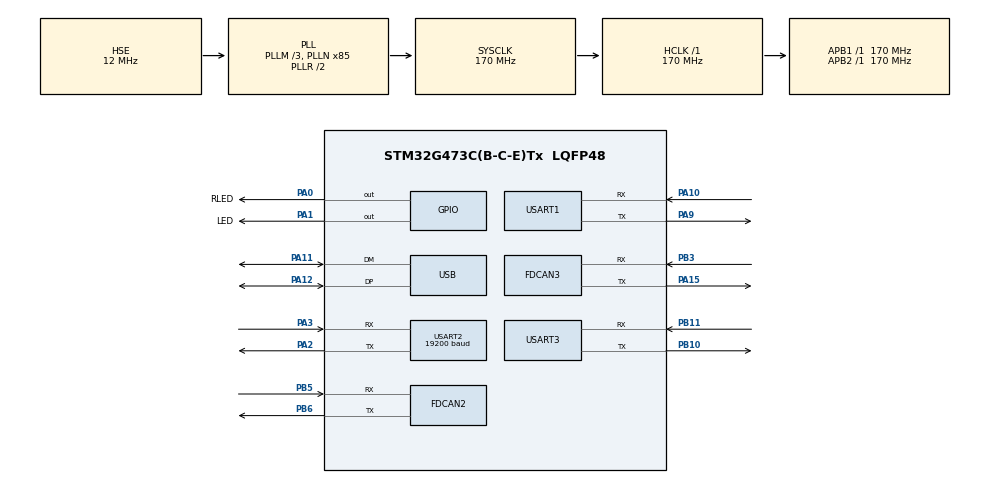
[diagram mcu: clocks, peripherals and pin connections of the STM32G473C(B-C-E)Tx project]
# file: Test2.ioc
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Dma.Request0=USART2_TX
Dma.USART2_TX.0.Direction=DMA_MEMORY_TO_PERIPH
Dma.USART2_TX.0.EventEnable=DISABLE
Dma.USART2_TX.0.Instance=DMA1_Channel1
Dma.USART2_TX.0.MemDataAlignment=DMA_MDATAALIGN_BYTE
Dma.USART2_TX.0.MemInc=DMA_MINC_ENABLE
Dma.USART2_TX.0.Mode=DMA_NORMAL
Dma.USART2_TX.0.PeriphDataAlignment=DMA_PDATAALIGN_BYTE
Dma.USART2_TX.0.PeriphInc=DMA_PINC_DISABLE
Dma.USART2_TX.0.Polarity=HAL_DMAMUX_REQ_GEN_RISING
Dma.USART2_TX.0.Priority=DMA_PRIORITY_VERY_HIGH
Dma.USART2_TX.0.RequestNumber=1
Dma.USART2_TX.0.SignalID=NONE
Dma.USART2_TX.0.SyncEnable=DISABLE
Dma.USART2_TX.0.SyncPolarity=HAL_DMAMUX_SYNC_NO_EVENT
Dma.USART2_TX.0.SyncRequestNumber=1
Dma.USART2_TX.0.SyncSignalID=NONE
FDCAN2.CalculateBaudRateNominal=500000
FDCAN2.CalculateTimeBitNominal=2000
FDCAN2.CalculateTimeQuantumNominal=250.0
FDCAN2.NominalPrescaler=3
FDCAN2.NominalTimeSeg1=6
FDCAN2.NominalTimeSeg2=1
FDCAN3.CalculateBaudRateNominal=500000
FDCAN3.CalculateTimeBitNominal=2000
FDCAN3.CalculateTimeQuantumNominal=250.0
FDCAN3.NominalPrescaler=3
FDCAN3.NominalTimeSeg1=6
FDCAN3.NominalTimeSeg2=1
FREERTOS.Tasks01=defaultTask,24,128,StartDefaultTask,Default,NULL,Dynamic,NULL,NULL
FREERTOS.configCHECK_FOR_STACK_OVERFLOW=2
FREERTOS.configTOTAL_HEAP_SIZE=16384
FREERTOS.configUSE_MALLOC_FAILED_HOOK=1
Mcu.Family=STM32G4
Mcu.Name=STM32G473C(B-C-E)Tx
Mcu.Package=LQFP48
NVIC.DMA1_Channel1_IRQn=true\:5\:0\:false\:false\:true\:true\:false\:true\:true
NVIC.FDCAN2_IT0_IRQn=true\:5\:0\:false\:false\:true\:true\:true\:true\:true
NVIC.FDCAN3_IT0_IRQn=true\:5\:0\:false\:false\:true\:true\:true\:true\:true
NVIC.PriorityGroup=NVIC_PRIORITYGROUP_4
NVIC.TIM1_UP_TIM16_IRQn=true\:15\:0\:false\:false\:true\:false\:false\:true\:true
NVIC.TimeBase=TIM1_UP_TIM16_IRQn
NVIC.TimeBaseIP=TIM1
NVIC.USART1_IRQn=true\:5\:0\:false\:false\:true\:true\:true\:true\:true
NVIC.USART2_IRQn=true\:5\:0\:false\:false\:true\:true\:true\:true\:true
NVIC.USB_LP_IRQn=true\:5\:0\:false\:false\:true\:true\:false\:true\:true
PA0.GPIO_Label=RLED
PA0.Signal=GPIO_Output
PA1.GPIO_Label=LED
PA1.Signal=GPIO_Output
PA10.Mode=Asynchronous
PA10.Signal=USART1_RX
PA11.Mode=Device
PA11.Signal=USB_DM
PA12.Mode=Device
PA12.Signal=USB_DP
PA13.Mode=Serial_Wire
PA13.Signal=SYS_JTMS-SWDIO
PA14.Mode=Serial_Wire
PA14.Signal=SYS_JTCK-SWCLK
PA15.GPIO_Speed=GPIO_SPEED_FREQ_HIGH
PA15.Mode=FDCAN_Activate
PA15.Signal=FDCAN3_TX
PA2.GPIO_Speed=GPIO_SPEED_FREQ_HIGH
PA2.Mode=Asynchronous
PA2.Signal=USART2_TX
PA3.GPIO_Speed=GPIO_SPEED_FREQ_HIGH
PA3.Mode=Asynchronous
PA3.Signal=USART2_RX
PA9.Mode=Asynchronous
PA9.Signal=USART1_TX
PB10.Mode=Asynchronous
PB10.Signal=USART3_TX
PB11.Mode=Asynchronous
PB11.Signal=USART3_RX
PB3.GPIO_PuPd=GPIO_PULLUP
PB3.GPIO_Speed=GPIO_SPEED_FREQ_HIGH
PB3.Mode=FDCAN_Activate
PB3.Signal=FDCAN3_RX
PB5.GPIO_PuPd=GPIO_PULLUP
PB5.GPIO_Speed=GPIO_SPEED_FREQ_HIGH
PB5.Mode=FDCAN_Activate
PB5.Signal=FDCAN2_RX
PB6.GPIO_Speed=GPIO_SPEED_FREQ_HIGH
PB6.Mode=FDCAN_Activate
PB6.Signal=FDCAN2_TX
PF0-OSC_IN.Mode=HSE-External-Clock-Source
PF0-OSC_IN.Signal=RCC_OSC_IN
ProjectManager.HeapSize=0x200
ProjectManager.StackSize=0x400
ProjectManager.TargetToolchain=CMake
RCC.ADC12Freq_Value=170000000
RCC.ADC345Freq_Value=170000000
RCC.AHBFreq_Value=170000000
RCC.APB1Freq_Value=170000000
RCC.APB1TimFreq_Value=170000000
RCC.APB2Freq_Value=170000000
RCC.APB2TimFreq_Value=170000000
RCC.CK48CLockSelection=RCC_USBCLKSOURCE_HSI48
RCC.CortexFreq_Value=170000000
RCC.EXTERNAL_CLOCK_VALUE=12288000
RCC.FDCANCLockSelection=RCC_FDCANCLKSOURCE_HSE
RCC.HCLKFreq_Value=170000000
RCC.HSE_VALUE=12000000
RCC.HSI48_VALUE=48000000
RCC.HSI_VALUE=16000000
RCC.LSE_VALUE=32768
RCC.PLLM=RCC_PLLM_DIV3
RCC.PLLN=85
RCC.PLLQ=RCC_PLLQ_DIV8
RCC.PLLSourceVirtual=RCC_PLLSOURCE_HSE
RCC.SYSCLKFreq_VALUE=170000000
RCC.SYSCLKSource=RCC_SYSCLKSOURCE_PLLCLK
RCC.USBFreq_Value=48000000
RCC.VCOOutputFreq_Value=340000000
USART1.VirtualMode-Asynchronous=VM_ASYNC
USART2.BaudRate=19200
USART2.Mode=MODE_TX_RX
USART2.Parity=PARITY_NONE
USART2.VirtualMode-Asynchronous=VM_ASYNC
USART3.VirtualMode-Asynchronous=VM_ASYNC
USB_DEVICE.CLASS_NAME_FS=CDC
USB_DEVICE.CONFIGURATION_STRING_CDC_FS=CDC Config
USB_DEVICE.INTERFACE_STRING_CDC_FS=CDC Interface
USB_DEVICE.MANUFACTURER_STRING=STMicroelectronics
USB_DEVICE.PID_CDC_FS=69
USB_DEVICE.PRODUCT_STRING_CDC_FS=Marius's telemetry
USB_DEVICE.VirtualMode=Cdc
USB_DEVICE.VirtualModeFS=Cdc_FS
VP_FREERTOS_VS_CMSIS_V2.Mode=CMSIS_V2
VP_RCC_VS_USB.Mode=USB_FS
VP_SYS_VS_DBSignals.Mode=DisableDeadBatterySignals
VP_SYS_VS_tim1.Mode=TIM1
VP_TIM8_VS_ClockSourceITR.Mode=TriggerSource_ITR0
VP_TIM8_VS_ControllerModeClock.Mode=Clock Mode
VP_USB_DEVICE_VS_USB_DEVICE_CDC_FS.Mode=CDC_FS
board=custom

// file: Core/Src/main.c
/* USER CODE BEGIN Header */
/**
  ******************************************************************************
  * @file           : main.c
  * @brief          : Main program body
  ******************************************************************************
  * @attention
  *
  * Copyright (c) 2025 STMicroelectronics.
  * All rights reserved.
  *
  * This software is licensed under terms that can be found in the LICENSE file
  * in the root directory of this software component.
  * If no LICENSE file comes with this software, it is provided AS-IS.
  *
  ******************************************************************************
  */
/* USER CODE END Header */
#include "main.h"
#include "cmsis_os.h"
#include "dma.h"
#include "fdcan.h"
#include "tim.h"
#include "usart.h"
#include "usb_device.h"
#include "gpio.h"

/* USER CODE BEGIN Includes */
#include "CAN-receive.h"
#include "Transmitt.h"
#include "aligncan.h"
#include "usbd_cdc_if.h"
#include "VN-200.h"
#include "FreeRTOS.h"
//#include "SEGGER_RTT.h"
/* USER CODE END Includes */

void SystemClock_Config(void);
void MX_FREERTOS_Init(void);

int main(void)
{

  /* MCU Configuration--------------------------------------------------------*/

  /* Reset of all peripherals, Initializes the Flash interface and the Systick. */
  HAL_Init();

  /* Configure the system clock */
  SystemClock_Config();

  /* Initialize all configured peripherals */
  MX_GPIO_Init();
  MX_DMA_Init();
  MX_FDCAN2_Init();
  MX_FDCAN3_Init();
  MX_TIM8_Init();
  MX_USART1_UART_Init();
  MX_USART2_UART_Init();
  MX_USART3_UART_Init();
  /* USER CODE BEGIN 2 */
  MX_USB_Device_Init();

  /* USER CODE END 2 */

  /* Init scheduler */
  osKernelInitialize();

  /* Call init function for freertos objects (in cmsis_os2.c) */
  MX_FREERTOS_Init();

  /* Start scheduler */
  osKernelStart();

  /* We should never get here as control is now taken by the scheduler */

  /* Infinite loop */
  while (1)
  {

  }
}

void SystemClock_Config(void)
{
  RCC_OscInitTypeDef RCC_OscInitStruct = {0};
  RCC_ClkInitTypeDef RCC_ClkInitStruct = {0};
  RCC_CRSInitTypeDef pInit = {0};

  /** Configure the main internal regulator output voltage
  */
  HAL_PWREx_ControlVoltageScaling(PWR_REGULATOR_VOLTAGE_SCALE1_BOOST);

  /** Initializes the RCC Oscillators according to the specified parameters
  * in the RCC_OscInitTypeDef structure.
  */
  RCC_OscInitStruct.OscillatorType = RCC_OSCILLATORTYPE_HSI48|RCC_OSCILLATORTYPE_HSE;
  RCC_OscInitStruct.HSEState = RCC_HSE_BYPASS;
  RCC_OscInitStruct.HSI48State = RCC_HSI48_ON;
  RCC_OscInitStruct.PLL.PLLState = RCC_PLL_ON;
  RCC_OscInitStruct.PLL.PLLSource = RCC_PLLSOURCE_HSE;
  RCC_OscInitStruct.PLL.PLLM = RCC_PLLM_DIV3;
  RCC_OscInitStruct.PLL.PLLN = 85;
  RCC_OscInitStruct.PLL.PLLP = RCC_PLLP_DIV2;
  RCC_OscInitStruct.PLL.PLLQ = RCC_PLLQ_DIV8;
  RCC_OscInitStruct.PLL.PLLR = RCC_PLLR_DIV2;
  if (HAL_RCC_OscConfig(&RCC_OscInitStruct) != HAL_OK)
  {
    Error_Handler();
  }

  /** Initializes the CPU, AHB and APB buses clocks
  */
  RCC_ClkInitStruct.ClockType = RCC_CLOCKTYPE_HCLK|RCC_CLOCKTYPE_SYSCLK
                              |RCC_CLOCKTYPE_PCLK1|RCC_CLOCKTYPE_PCLK2;
  RCC_ClkInitStruct.SYSCLKSource = RCC_SYSCLKSOURCE_PLLCLK;
  RCC_ClkInitStruct.AHBCLKDivider = RCC_SYSCLK_DIV1;
  RCC_ClkInitStruct.APB1CLKDivider = RCC_HCLK_DIV1;
  RCC_ClkInitStruct.APB2CLKDivider = RCC_HCLK_DIV1;

  if (HAL_RCC_ClockConfig(&RCC_ClkInitStruct, FLASH_LATENCY_4) != HAL_OK)
  {
    Error_Handler();
  }

  /** Enable the SYSCFG APB clock
  */
  __HAL_RCC_CRS_CLK_ENABLE();

  /** Configures CRS
  */
  pInit.Prescaler = RCC_CRS_SYNC_DIV1;
  pInit.Source = RCC_CRS_SYNC_SOURCE_USB;
  pInit.Polarity = RCC_CRS_SYNC_POLARITY_RISING;
  pInit.ReloadValue = __HAL_RCC_CRS_RELOADVALUE_CALCULATE(48000000,1000);
  pInit.ErrorLimitValue = 34;
  pInit.HSI48CalibrationValue = 32;

  HAL_RCCEx_CRSConfig(&pInit);
}

void HAL_TIM_PeriodElapsedCallback(TIM_HandleTypeDef *htim)
{
  if (htim->Instance == TIM1)
  {
    HAL_IncTick();
  }
}

void Error_Handler(void)
{
  /* USER CODE BEGIN Error_Handler_Debug */
  /* User can add his own implementation to report the HAL error return state */
  __disable_irq();
  while (1)
  {
    HAL_GPIO_TogglePin(RLED_GPIO_Port, RLED_Pin);
    HAL_Delay(250);
  }
  /* USER CODE END Error_Handler_Debug */
}

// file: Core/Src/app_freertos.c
/* USER CODE BEGIN Header */
/**
  ******************************************************************************
  * File Name          : app_freertos.c
  * Description        : Code for freertos applications
  ******************************************************************************
  * @attention
  *
  * Copyright (c) 2025 STMicroelectronics.
  * All rights reserved.
  *
  * This software is licensed under terms that can be found in the LICENSE file
  * in the root directory of this software component.
  * If no LICENSE file comes with this software, it is provided AS-IS.
  *
  ******************************************************************************
  */
/* USER CODE END Header */

#include "FreeRTOS.h"
#include "task.h"
#include "main.h"
#include "cmsis_os.h"

#include "usb_device.h"

/* USER CODE BEGIN Includes */
#include "FreeRTOS.h"
#include "CAN-receive.h"
#include "queue.h"
#include "task.h"
#include "usbd_cdc_if.h"
#include "VN-200.h"
#include "usart.h"  // Provides huart1
#include "Transmitt.h"

void BlinkRLEDTask(void *argument);  // Forward declaration
void CANTask(void *argument);  // Forward declaration
void UARTSendTask(void *argument);  // Forward declaration
void VNUARTTask(void *argument);
void TxTask(void *argument);  // Forward declaration

QueueHandle_t Tx; // Definisjon på globalt nivå

/* USER CODE END Includes */

/* Definitions for defaultTask */
osThreadId_t defaultTaskHandle;
const osThreadAttr_t defaultTask_attributes = {
  .name = "defaultTask",
  .priority = (osPriority_t) osPriorityNormal,
  .stack_size = 128 * 4
};

void StartDefaultTask(void *argument);

void MX_FREERTOS_Init(void); /* (MISRA C 2004 rule 8.1) */

/* Hook prototypes */
void vApplicationStackOverflowHook(xTaskHandle xTask, signed char *pcTaskName);
void vApplicationMallocFailedHook(void);

/* USER CODE BEGIN 4 */
void vApplicationStackOverflowHook(xTaskHandle xTask, signed char *pcTaskName)
{
   /* Run time stack overflow checking is performed if
   configCHECK_FOR_STACK_OVERFLOW is defined to 1 or 2. This hook function is
   called if a stack overflow is detected. */
}
/* USER CODE END 4 */

/* USER CODE BEGIN 5 */
void vApplicationMallocFailedHook(void)
{
   /* vApplicationMallocFailedHook() will only be called if
   configUSE_MALLOC_FAILED_HOOK is set to 1 in FreeRTOSConfig.h. It is a hook
   function that will get called if a call to pvPortMalloc() fails.
   pvPortMalloc() is called internally by the kernel whenever a task, queue,
   timer or semaphore is created. It is also called by various parts of the
   demo application. If heap_1.c or heap_2.c are used, then the size of the
   heap available to pvPortMalloc() is defined by configTOTAL_HEAP_SIZE in
   FreeRTOSConfig.h, and the xPortGetFreeHeapSize() API function can be used
   to query the size of free heap space that remains (although it does not
   provide information on how the remaining heap might be fragmented). */
}
/* USER CODE END 5 */

void MX_FREERTOS_Init(void) {

  /* USER CODE BEGIN RTOS_QUEUES */
  /* add queues, ... */

  Tx = xQueueCreate(40, sizeof(Payload_t));

    // Create a queue to hold 10 items of type char*
  // Initialisering
  if (Tx == NULL) {
    // Handle error
    Error_Handler();
  }

  /* USER CODE END RTOS_QUEUES */

  /* Create the thread(s) */
  /* creation of defaultTask */
  defaultTaskHandle = osThreadNew(StartDefaultTask, NULL, &defaultTask_attributes);

  /* USER CODE BEGIN RTOS_THREADS */

  const osThreadAttr_t Tx_atributes = {
    .name = "TxTask",
    .priority = (osPriority_t) osPriorityNormal,
    .stack_size =  8096
  };

  /* Create the BlinkRLEDTask */

  const osThreadAttr_t vnTask_attributes = {
    .name = "VNUARTTask",
    .priority = (osPriority_t) osPriorityNormal,
    .stack_size = 8096
  };

  //osThreadNew(VNUARTTask, NULL, &vnTask_attributes);
  osThreadNew(TxTask, NULL, &Tx_atributes);
  /* USER CODE END RTOS_THREADS */

}

void StartDefaultTask(void *argument)
{
  /* init code for USB_Device */
  MX_USB_Device_Init();
  for(;;)
  {
    osDelay(1);
  }
}

/* USER CODE BEGIN Application */
/* USER CODE BEGIN HOOKS */

/* USER CODE END HOOKS */

/* USER CODE END Application */
